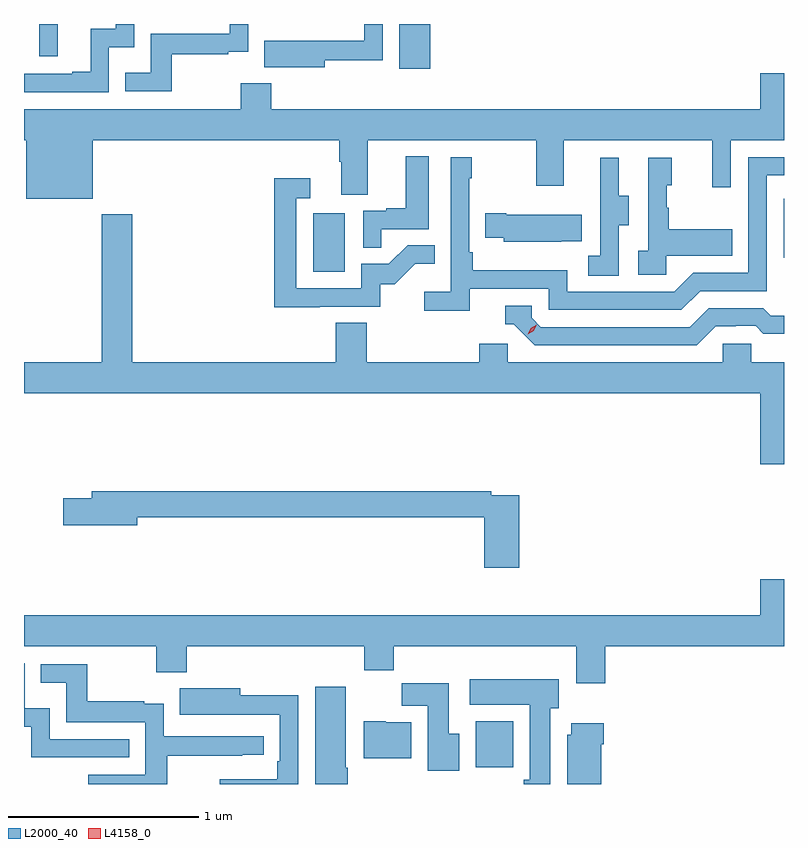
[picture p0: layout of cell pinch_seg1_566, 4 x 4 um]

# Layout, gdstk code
import gdstk
lib = gdstk.Library(unit=1e-6, precision=1e-09)
def R(c, l, rs):  # rectangles x0, y0, x1, y1
    for r in rs: c.add(gdstk.rectangle(r[:2], r[2:], *l))
def P(c, l, *ps):  # polygons
    for p in ps: c.add(gdstk.Polygon(p, *l))
L2000_40 = (2000, 40)
L4158_0 = (4158, 0)

pinch_seg1_566 = lib.new_cell('pinch_seg1_566')
R(pinch_seg1_566, L2000_40, [(1014.659,509.804,1014.856,510.046), (1013.804,512.412,1013.968,512.719), (1016.28,512.487,1016.281,512.796), (1014.257,513.48,1014.418,513.716), (1012.362,513.546,1012.459,513.716)])
P(pinch_seg1_566, L2000_40, [(1013.863,513.526),(1014.168,513.526),(1014.168,513.716),(1014.072,513.716),(1014.072,513.627),(1013.759,513.627),(1013.759,513.628),(1013.545,513.628),(1013.545,513.488),(1013.863,513.488)],
  [(1013.059,513.558),(1013.357,513.558),(1013.357,513.569),(1013.46,513.569),(1013.46,513.716),(1013.364,513.716),(1013.364,513.666),(1012.948,513.666),(1012.948,513.46),(1012.813,513.46),(1012.813,513.363),(1013.059,513.363)],
  [(1012.728,513.593),(1012.86,513.593),(1012.86,513.716),(1012.764,513.716),(1012.764,513.691),(1012.631,513.691),(1012.631,513.466),(1012.535,513.466),(1012.535,513.453),(1012.281,513.453),(1012.281,513.357),(1012.728,513.357)],
  [(1012.642,513.104),(1013.939,513.104),(1013.939,512.992),(1013.951,512.992),(1013.951,512.818),(1014.091,512.818),(1014.091,513.104),(1014.976,513.104),(1014.976,512.865),(1015.123,512.865),(1015.123,513.104),(1015.904,513.104),(1015.904,512.856),(1016.001,512.856),(1016.001,513.104),(1016.281,513.104),(1016.281,513.457),(1016.156,513.457),(1016.156,513.268),(1013.582,513.268),(1013.582,513.403),(1013.422,513.403),(1013.422,513.268),(1012.281,513.268),(1012.281,513.104),(1012.292,513.104),(1012.292,512.795),(1012.642,512.795)],
  [(1014.161,512.637),(1014.412,512.637),(1014.412,513.019),(1014.29,513.019),(1014.29,512.746),(1014.187,512.746),(1014.187,512.733),(1014.066,512.733),(1014.066,512.539),(1014.161,512.539)],
  [(1014.626,512.322),(1015.044,512.322),(1015.044,512.211),(1015.741,512.211),(1015.84,512.31),(1016.19,512.31),(1016.19,512.919),(1016.281,512.919),(1016.281,513.015),(1016.094,513.015),(1016.094,512.406),(1015.803,512.406),(1015.704,512.307),(1015.14,512.307),(1015.14,512.419),(1014.644,512.419),(1014.644,512.515),(1014.624,512.515),(1014.624,512.903),(1014.637,512.903),(1014.637,513.016),(1014.528,513.016),(1014.528,512.308),(1014.387,512.308),(1014.387,512.206),(1014.626,512.206)],
  [(1015.41,512.656),(1015.465,512.656),(1015.465,512.811),(1015.411,512.811),(1015.411,513.013),(1015.313,513.013),(1015.313,512.799),(1015.314,512.799),(1015.314,512.495),(1015.251,512.495),(1015.251,512.392),(1015.41,512.392)],
  [(1015.662,512.495),(1016.009,512.495),(1016.009,512.635),(1015.675,512.635),(1015.675,512.75),(1015.665,512.75),(1015.665,512.868),(1015.69,512.868),(1015.69,513.013),(1015.566,513.013),(1015.566,512.522),(1015.515,512.522),(1015.515,512.397),(1015.662,512.397)],
  [(1013.837,512.229),(1014.156,512.229),(1014.156,512.346),(1014.232,512.346),(1014.339,512.453),(1014.443,512.453),(1014.443,512.552),(1014.3,512.552),(1014.202,512.454),(1014.057,512.454),(1014.057,512.325),(1013.715,512.325),(1013.715,512.799),(1013.788,512.799),(1013.788,512.905),(1013.599,512.905),(1013.599,512.224),(1013.837,512.224)],
  [(1015.109,512.573),(1015.217,512.573),(1015.217,512.713),(1014.82,512.713),(1014.82,512.721),(1014.709,512.721),(1014.709,512.591),(1014.807,512.591),(1014.807,512.57),(1015.109,512.57)],
  [(1016.281,511.936),(1016.109,511.936),(1016.109,512.034),(1015.959,512.034),(1015.959,511.936),(1014.828,511.936),(1014.828,512.034),(1014.677,512.034),(1014.677,511.936),(1014.086,511.936),(1014.086,512.144),(1013.921,512.144),(1013.921,511.936),(1012.85,511.936),(1012.85,512.716),(1012.69,512.716),(1012.69,511.936),(1012.281,511.936),(1012.281,511.772),(1016.156,511.772),(1016.156,511.398),(1016.281,511.398)],
  [(1015.921,512.124),(1016.028,512.124),(1016.028,512.127),(1016.131,512.127),(1016.173,512.085),(1016.281,512.085),(1016.281,512.181),(1016.212,512.181),(1016.173,512.22),(1015.884,512.22),(1015.785,512.121),(1015.002,512.121),(1014.954,512.169),(1014.954,512.232),(1014.815,512.232),(1014.815,512.136),(1014.858,512.136),(1014.969,512.025),(1015.822,512.025)],
  [(1014.887,511.236),(1014.74,511.236),(1014.74,511.256),(1012.637,511.256),(1012.637,511.22),(1012.488,511.22),(1012.488,511.078),(1012.876,511.078),(1012.876,511.12),(1014.704,511.12),(1014.704,510.855),(1014.887,510.855)],
  [(1015.34,510.44),(1016.281,510.44),(1016.281,510.793),(1016.156,510.793),(1016.156,510.604),(1012.281,510.604),(1012.281,510.44),(1012.978,510.44),(1012.978,510.305),(1013.138,510.305),(1013.138,510.44),(1014.071,510.44),(1014.071,510.316),(1014.227,510.316),(1014.227,510.44),(1015.187,510.44),(1015.187,510.246),(1015.34,510.246)],
  [(1012.835,509.952),(1012.416,509.952),(1012.416,510.115),(1012.284,510.115),(1012.284,510.351),(1012.281,510.351),(1012.281,510.017),(1012.32,510.017),(1012.32,509.856),(1012.835,509.856)],
  [(1013.036,509.866),(1013.429,509.866),(1013.429,509.871),(1013.542,509.871),(1013.542,509.967),(1013.016,509.967),(1013.016,510.139),(1012.913,510.139),(1012.913,510.151),(1012.615,510.151),(1012.615,510.345),(1012.369,510.345),(1012.369,510.248),(1012.504,510.248),(1012.504,510.042),(1012.92,510.042),(1012.92,509.766),(1012.619,509.766),(1012.619,509.716),(1013.036,509.716)],
  [(1015.051,510.114),(1015.096,510.114),(1015.096,510.268),(1014.627,510.268),(1014.627,510.134),(1014.944,510.134),(1014.944,509.738),(1014.911,509.738),(1014.911,509.716),(1015.051,509.716)],
  [(1014.571,509.98),(1014.517,509.98),(1014.517,510.247),(1014.268,510.247),(1014.268,510.128),(1014.407,510.128),(1014.407,509.787),(1014.571,509.787)],
  [(1013.986,509.802),(1013.974,509.802),(1013.974,510.229),(1013.813,510.229),(1013.813,509.716),(1013.986,509.716)],
  [(1013.724,510.182),(1013.419,510.182),(1013.419,510.22),(1013.101,510.22),(1013.101,510.08),(1013.315,510.08),(1013.315,510.081),(1013.628,510.081),(1013.628,509.836),(1013.615,509.836),(1013.615,509.74),(1013.31,509.74),(1013.31,509.716),(1013.724,509.716)],
  [(1014.319,510.04),(1014.186,510.04),(1014.186,510.046),(1014.068,510.046),(1014.068,509.852),(1014.319,509.852)],
  [(1015.318,509.924),(1015.331,509.924),(1015.331,510.037),(1015.16,510.037),(1015.16,509.976),(1015.139,509.976),(1015.139,509.716),(1015.318,509.716)])
P(pinch_seg1_566, L4158_0, [(1014.932,512.082),(1014.932,512.082),(1014.949,512.114),(1014.98,512.133),(1014.98,512.133),(1014.98,512.133),(1014.963,512.101),(1014.932,512.082)])

lib.write_gds('pinch_seg1_566.gds')
